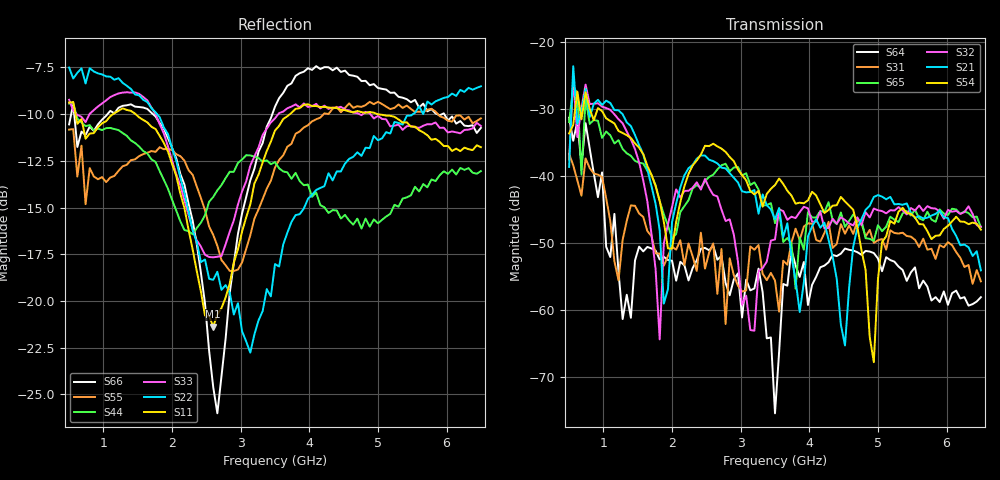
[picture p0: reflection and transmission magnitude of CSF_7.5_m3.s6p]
!Keysight Technologies,M9804A,MY58100912,A.14.10.03
!Date: Thursday, April 27, 2023 10:28:33
!Correction: S11(C  6-Port  )
!S12(C  6-Port  )
!S13(C  6-Port  )
!S14(C  6-Port  )
!S15(C  6-Port  )
!S16(C  6-Port  )
!S21(C  6-Port  )
!S22(C  6-Port  )
!S23(C  6-Port  )
!S24(C  6-Port  )
!S25(C  6-Port  )
!S26(C  6-Port  )
!S31(C  6-Port  )
!S32(C  6-Port  )
!S33(C  6-Port  )
!S34(C  6-Port  )
!S35(C  6-Port  )
!S36(C  6-Port  )
!S41(C  6-Port  )
!S42(C  6-Port  )
!S43(C  6-Port  )
!S44(C  6-Port  )
!S45(C  6-Port  )
!S46(C  6-Port  )
!S51(C  6-Port  )
!S52(C  6-Port  )
!S53(C  6-Port  )
!S54(C  6-Port  )
!S55(C  6-Port  )
!S56(C  6-Port  )
!S61(C  6-Port  )
!S62(C  6-Port  )
!S63(C  6-Port  )
!S64(C  6-Port  )
!S65(C  6-Port  )
!S66(C  6-Port  )
!S6P File: Measurement: :
# Hz S  RI  R 50
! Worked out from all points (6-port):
!   101 points, 500 MHz to 6.5 GHz, reference 50 ohm
!   strongest paths, dB at 500 MHz, 2 GHz, 3.5 GHz, 5 GHz, 6.5 GHz:
!     S54: -33.7, -50.8, -41.4, -55.4, -48.0
!     S21: -38.7, -46.9, -46.5, -42.9, -54.1
!     S32: -37.5, -44.6, -49.5, -45.1, -47.6
!     S65: -32.0, -49.3, -47.0, -47.3, -47.6
!     S31: -36.7, -50.5, -55.6, -49.6, -55.7
!     S64: -31.3, -52.6, -75.4, -52.3, -58.1
!   lowest |S11| = -21.4 dB at 2.6 GHz (marker M1), VSWR 1.19, Z = 42.4 + j2.29 ohm
!   |S11| at or under -10 dB: 593.5 MHz to 1.139 GHz (545.8 MHz wide, 63 % of centre); 1.469 GHz to 3.717 GHz (2.247 GHz wide, 86.7 % of centre); 4.995 GHz to end of sweep
